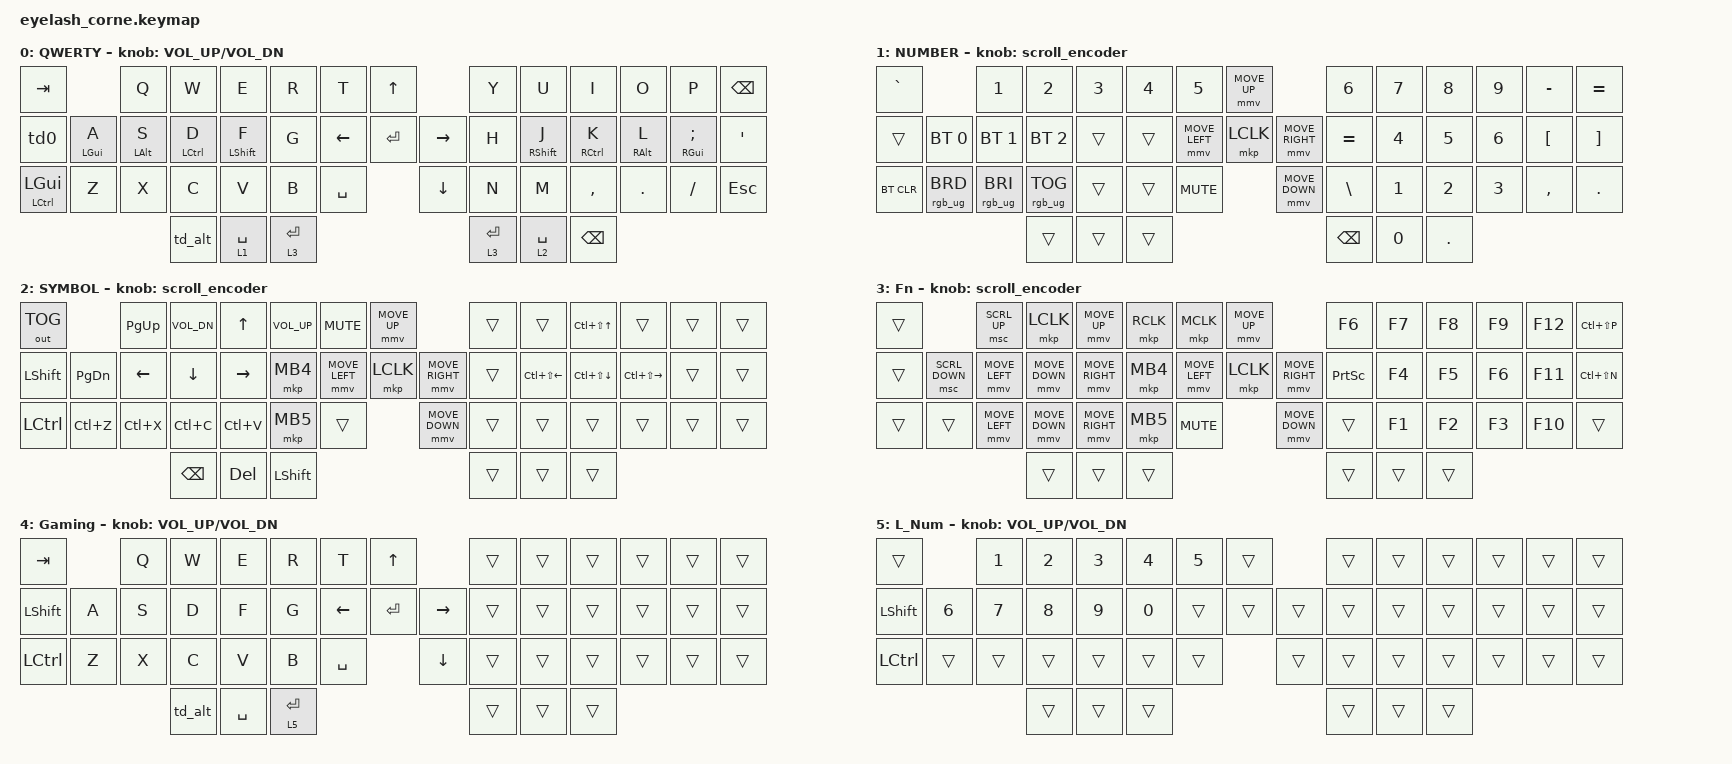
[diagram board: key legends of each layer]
#define ZMK_POINTING_DEFAULT_MOVE_VAL 1200  // 600
#define ZMK_POINTING_DEFAULT_SCRL_VAL 25   // 10

#include <input/processors.dtsi>
#include <zephyr/dt-bindings/input/input-event-codes.h>
#include <behaviors.dtsi>
#include <dt-bindings/zmk/bt.h>
#include <dt-bindings/zmk/keys.h>
#include <dt-bindings/zmk/outputs.h>
#include <dt-bindings/zmk/pointing.h>
#include <dt-bindings/zmk/rgb.h>

&mmv_input_listener { input-processors = <&zip_xy_scaler 2 1>; };

&msc_input_listener { input-processors = <&zip_scroll_scaler 2 1>; };

&msc {
    acceleration-exponent = <1>;      // 0
    time-to-max-speed-ms = <100>;       // 300
    delay-ms = <0>;                   // 0
};

&mmv {
    time-to-max-speed-ms = <500>;
    acceleration-exponent = <1>;
    trigger-period-ms = <16>;
};

/ {
    behaviors {
        hrm: homerow_mods {
            compatible = "zmk,behavior-hold-tap";
            #binding-cells = <2>;
            tapping-term-ms = <200>;
            quick-tap-ms = <175>;
            require-prior-idle-ms = <150>;
            flavor = "balanced";
            bindings = <&kp>, <&kp>;
        };

        td0: td0 {
            compatible = "zmk,behavior-tap-dance";
            display-name = "Shift/Caps Lock Tap Dance";
            #binding-cells = <0>;
            bindings = <&kp LEFT_SHIFT>, <&kp CAPS>;
        };

        td_alt: td_alt {
            compatible = "zmk,behavior-tap-dance";
            display-name = "Alt/Layer 4 Tap Dance";
            #binding-cells = <0>;
            bindings = <&kp LEFT_ALT>, <&tog 4>;
        };
    };

    rgb_encoder: rgb_encoder {
        compatible = "zmk,behavior-sensor-rotate";
        #sensor-binding-cells = <0>;
        bindings = <&rgb_ug RGB_BRI>, <&rgb_ug RGB_BRD>;
    };

    scroll_encoder: scroll_encoder {
        compatible = "zmk,behavior-sensor-rotate";
        #sensor-binding-cells = <0>;
        bindings = <&msc SCRL_DOWN>, <&msc SCRL_UP>;

        tap-ms = <100>;
    };

    keymap {
        compatible = "zmk,keymap";

        default_layer {
            display-name = "QWERTY";
            bindings = <
&kp TAB                    &kp Q  &kp W            &kp E         &kp R              &kp T                               &kp UP                &kp Y        &kp U               &kp I          &kp O             &kp P     &kp BSPC
&td0             &hrm LEFT_GUI A  &hrm LEFT_ALT S  &hrm LCTRL D  &hrm LEFT_SHIFT F  &kp G                     &kp LEFT  &kp ENTER  &kp RIGHT  &kp H        &hrm RIGHT_SHIFT J  &hrm RCTRL K   &hrm RIGHT_ALT L  &hrm RIGHT_GUI SEMI  &kp SQT
&mt LEFT_CONTROL LEFT_GUI  &kp Z  &kp X            &kp C         &kp V              &kp B        &kp SPACE              &kp DOWN              &kp N        &kp M               &kp COMMA      &kp DOT           &kp FSLH  &kp ESC
                                                   &td_alt  &lt 1 SPACE        &lt 3 ENTER                                               &lt 3 ENTER  &lt 2 SPACE         &kp BACKSPACE
            >;

            sensor-bindings = <&inc_dec_kp C_VOL_UP C_VOL_DN>;
        };

        lower_layer {
            display-name = "NUMBER";
            bindings = <
&kp GRAVE  &kp N1           &kp N2           &kp N3           &kp N4  &kp N5                                    &mmv MOVE_UP                     &kp N6         &kp N7  &kp N8      &kp N9  &kp MINUS         &kp EQUAL
&trans     &bt BT_SEL 0     &bt BT_SEL 1     &bt BT_SEL 2     &trans  &trans                &mmv MOVE_LEFT  &mkp LCLK       &mmv MOVE_RIGHT  &kp EQUAL      &kp N4  &kp N5      &kp N6  &kp LEFT_BRACKET  &kp RIGHT_BRACKET
&bt BT_CLR &rgb_ug RGB_BRD  &rgb_ug RGB_BRI  &rgb_ug RGB_TOG  &trans  &trans      &kp C_MUTE                    &mmv MOVE_DOWN                   &kp BACKSLASH  &kp N1  &kp N2      &kp N3  &kp COMMA         &kp PERIOD
                                             &trans           &trans  &trans                                                                       &kp BACKSPACE  &kp N0  &kp PERIOD
            >;

            sensor-bindings = <&scroll_encoder>;
        };

        raise_layer {
            display-name = "SYMBOL";
            bindings = <
&out OUT_TOG      &kp PAGE_UP    &kp C_VOL_DN    &kp UP_ARROW    &kp C_VOL_UP  &kp C_MUTE                                &mmv MOVE_UP                     &trans  &trans            &kp LC(LS(UP_ARROW))  &trans             &trans  &trans
&kp LEFT_SHIFT    &kp PAGE_DOWN  &kp LEFT_ARROW  &kp DOWN_ARROW  &kp RIGHT     &mkp MB4                  &mmv MOVE_LEFT  &mkp LCLK       &mmv MOVE_RIGHT  &trans  &kp LC(LS(LEFT))  &kp LC(LS(DOWN))      &kp LC(LS(RIGHT))  &trans  &trans
&kp LEFT_CONTROL  &kp LC(Z)      &kp LC(X)       &kp LC(C)       &kp LC(V)     &mkp MB5        &trans                    &mmv MOVE_DOWN                   &trans  &trans            &trans                &trans             &trans  &trans
                                                 &kp BACKSPACE   &kp DELETE    &kp LEFT_SHIFT                                                             &trans  &trans            &trans
            >;

            sensor-bindings = <&scroll_encoder>;
        };

        layer_3 {
            display-name = "Fn";
            bindings = <
&trans  &msc SCRL_UP    &mkp LCLK       &mmv MOVE_UP    &mkp RCLK        &mkp MCLK                                &mmv MOVE_UP                     &kp F6     &kp F7  &kp F8  &kp F9  &kp F12  &kp LC(LS(P))
&trans  &msc SCRL_DOWN  &mmv MOVE_LEFT  &mmv MOVE_DOWN  &mmv MOVE_RIGHT  &mkp MB4                 &mmv MOVE_LEFT  &mkp LCLK       &mmv MOVE_RIGHT  &kp PSCRN  &kp F4  &kp F5  &kp F6  &kp F11  &kp LC(LS(N))
&trans  &trans          &mmv MOVE_LEFT  &mmv MOVE_DOWN  &mmv MOVE_RIGHT  &mkp MB5   &kp C_MUTE                    &mmv MOVE_DOWN                   &trans     &kp F1  &kp F2  &kp F3  &kp F10  &trans
                                        &trans          &trans           &trans                                                                    &trans     &trans  &trans
            >;

            sensor-bindings = <&scroll_encoder>;
        };

        layer_4 {
            display-name = "Gaming";
            bindings = <
&kp TAB     &kp Q  &kp W  &kp E  &kp R  &kp T                               &kp UP                &trans  &trans  &trans  &trans  &trans  &trans
&kp LSHIFT  &kp A  &kp S  &kp D  &kp F  &kp G                     &kp LEFT  &kp ENTER  &kp RIGHT  &trans  &trans  &trans  &trans  &trans  &trans
&kp LCTRL   &kp Z  &kp X  &kp C  &kp V  &kp B        &kp SPACE              &kp DOWN              &trans  &trans  &trans  &trans  &trans  &trans
              &td_alt  &kp SPACE  &lt 5 ENTER                                                     &trans  &trans  &trans
            >;

            sensor-bindings = <&inc_dec_kp C_VOL_UP C_VOL_DN>;
        };

        layer_5 {
            display-name = "L_Num";
            bindings = <
&trans      &kp N1  &kp N2  &kp N3  &kp N4  &kp N5                    &trans            &trans  &trans  &trans  &trans  &trans  &trans
&kp LSHIFT  &kp N6  &kp N7  &kp N8  &kp N9  &kp N0          &trans  &trans  &trans      &trans  &trans  &trans  &trans  &trans  &trans
&kp LCTRL   &trans  &trans  &trans  &trans  &trans  &trans          &trans           &trans  &trans  &trans  &trans  &trans  &trans
                        &trans  &trans  &trans                                    &trans  &trans  &trans
            >;

            sensor-bindings = <&inc_dec_kp C_VOL_UP C_VOL_DN>;
        };
    };
};
